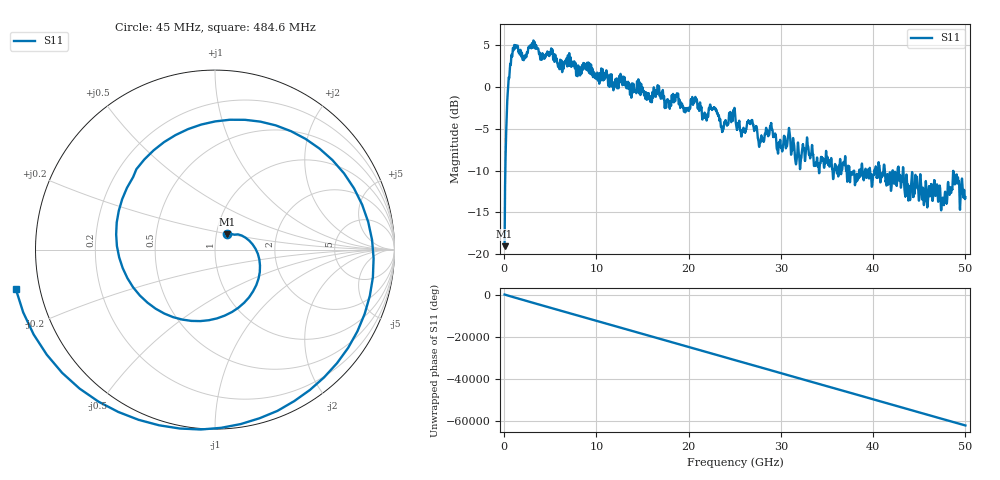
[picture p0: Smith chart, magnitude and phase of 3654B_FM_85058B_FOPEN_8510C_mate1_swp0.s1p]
!Created with skrf (http://scikit-rf.org).
# Hz S RI R 50.0
!freq ReS11 ImS11
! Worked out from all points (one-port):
!   10001 points, 45 MHz to 50 GHz, reference 50 ohm
!   lowest |S11| = -19.0 dB at 45 MHz (marker M1), VSWR 1.25, Z = 56.5 + j9.99 ohm
!   |S11| at or under -10 dB: 37.43 GHz to 38.5 GHz (1.073 GHz wide, 2.83 % of centre); 41.27 GHz to 42.11 GHz (839.3 MHz wide, 2.01 % of centre); 43.28 GHz to end of sweep (the widest 3 of 21)
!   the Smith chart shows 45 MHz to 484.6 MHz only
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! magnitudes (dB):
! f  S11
! 45 MHz  -19.0
! 434.6 MHz  0.1
! 1.024 GHz  4.4
! 2.193 GHz  3.7
! 3.242 GHz  4.7
! 6.289 GHz  1.8
! 12.53 GHz  0.6
! 15.8 GHz  -1.1
! 18.78 GHz  -1.1
! 19.7 GHz  -2.6
! 20.72 GHz  -1.2
! 21.72 GHz  -3.1
! 22.8 GHz  -2.6
! 23.69 GHz  -5.2
! 25.02 GHz  -3.2
! 25.89 GHz  -5.1
! 26.78 GHz  -4.1
! 27.72 GHz  -6.6
! 28.91 GHz  -4.5
! 29.76 GHz  -6.8
! 31.27 GHz  -7.0
! 37.51 GHz  -11.2
! 42.58 GHz  -11.7
! 43.76 GHz  -12.0
! 46.76 GHz  -13.0
! 47.54 GHz  -13.3
! 48.87 GHz  -11.6
! 50 GHz  -13.2
